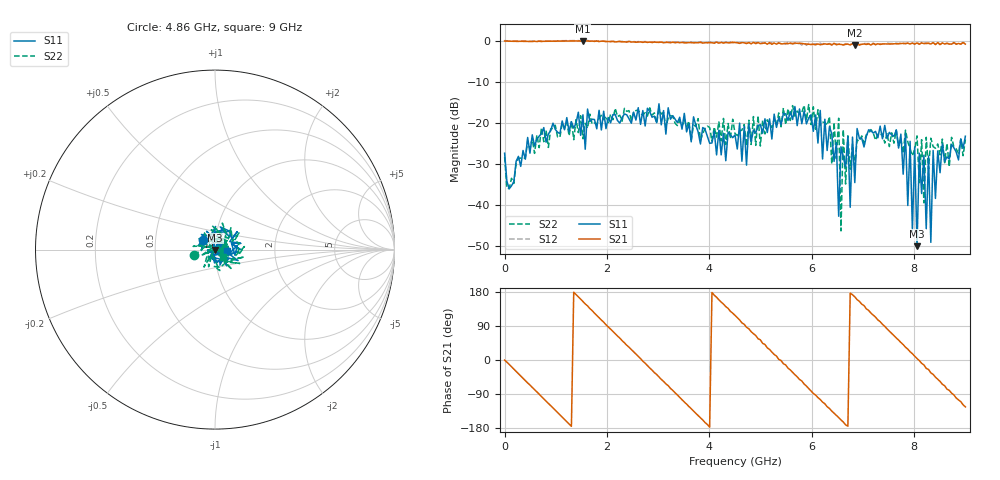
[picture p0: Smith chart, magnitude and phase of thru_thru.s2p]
!Agilent Technologies,E8358A,US40210021,A.06.04.30
!Agilent E8358A: A.06.04.30
!Date: Sunday, April 15, 2018 12:14:21
!Correction: S11(Full 2 Port(1,2)) S21(Full 2 Port(1,2)) S12(Full 2 Port(1,2)) S22(Full 2 Port(1,2))
!S2P File: Measurements: S11, S21, S12, S22:
# Hz S  RI  R 50
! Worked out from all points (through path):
!   201 points, 300 kHz to 9 GHz, reference 50 ohm
!   highest |S21| = 0.02 dB at 1.53 GHz (marker M1); lowest = -1.1 dB at 6.84 GHz (marker M2)
!   group delay of S21, straight-line fit = 371 ps
!   lowest |S11| = -49.9 dB at 8.055 GHz (marker M3), VSWR 1.01, Z = 50.2 - j0.276 ohm
!   |S11| at or under -10 dB: start of sweep to end of sweep
!   |S22| runs from -46.2 to -15.5 dB; largest |S21 - S12| = 0.065
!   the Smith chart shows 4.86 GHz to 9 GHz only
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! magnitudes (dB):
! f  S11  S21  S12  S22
! 300 kHz  -27.3  0.0  0.1  -28.2
! 1.53 GHz  -18.0  0.0  0.1  -23.8
! 3.015 GHz  -15.3  -0.4  -0.3  -16.6
! 4.5 GHz  -22.9  -0.4  -0.4  -22.5
! 6.03 GHz  -22.0  -0.8  -0.7  -16.0
! 6.48 GHz  -24.7  -0.9  -0.7  -28.6
! 6.525 GHz  -42.7  -0.8  -0.8  -18.8
! 6.57 GHz  -25.8  -0.8  -0.7  -46.2
! 6.615 GHz  -28.2  -1.0  -1.0  -21.6
! 6.84 GHz  -34.5  -1.1  -0.9  -30.3
! 7.515 GHz  -22.2  -0.7  -0.6  -25.7
! 7.875 GHz  -40.0  -0.5  -0.5  -24.6
! 7.92 GHz  -24.4  -0.7  -0.6  -26.3
! 7.965 GHz  -46.2  -0.5  -0.5  -27.9
! 8.01 GHz  -25.8  -0.7  -0.8  -26.4
! 8.055 GHz  -49.9  -0.5  -0.3  -23.1
! 8.1 GHz  -27.3  -0.8  -0.8  -34.5
! 8.235 GHz  -45.7  -0.6  -0.5  -23.4
! 8.28 GHz  -28.0  -0.6  -0.6  -31.2
! 8.325 GHz  -49.0  -0.7  -0.7  -23.7
! 8.37 GHz  -26.7  -0.4  -0.4  -25.7
! 9 GHz  -23.2  -0.8  -0.7  -24.0
